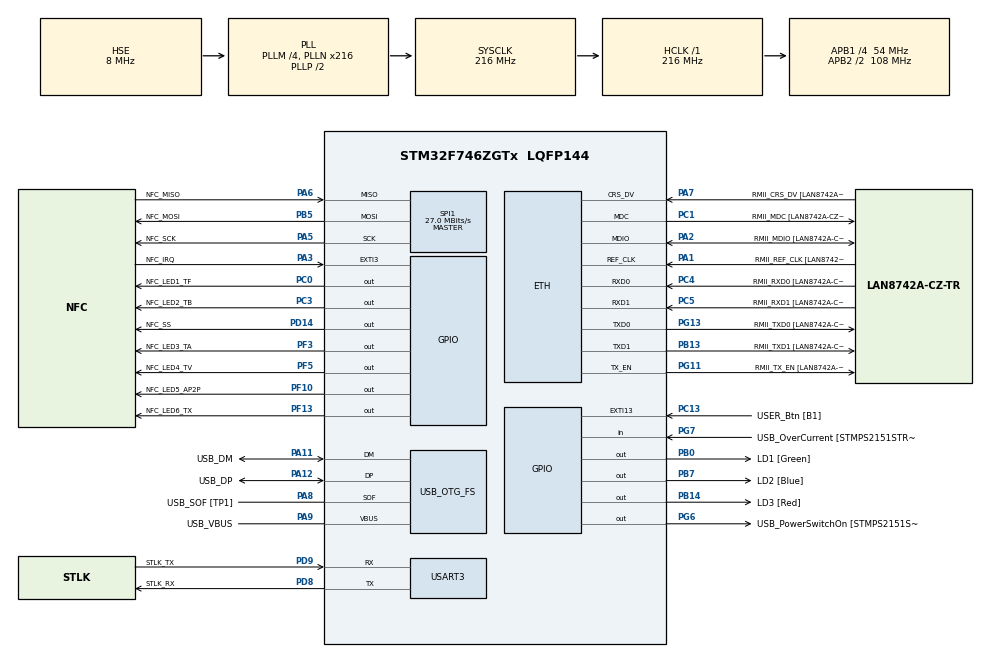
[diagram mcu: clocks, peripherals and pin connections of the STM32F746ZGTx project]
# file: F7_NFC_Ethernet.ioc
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ETH.MediaInterface=HAL_ETH_RMII_MODE
ETH.PHY_Name=LAN8742A_PHY_ADDRESS
ETH.PHY_Value=0
ETH.PhyAddress=0
FREERTOS.Tasks01=defaultTask,24,128,StartDefaultTask,Default,NULL,Dynamic,NULL,NULL
FREERTOS.configUSE_NEWLIB_REENTRANT=1
Mcu.Family=STM32F7
Mcu.Name=STM32F746ZGTx
Mcu.Package=LQFP144
NVIC.ETH_IRQn=true\:5\:0\:false\:false\:true\:true\:true\:true\:true
NVIC.EXTI15_10_IRQn=true\:5\:0\:false\:false\:true\:true\:true\:true\:true
NVIC.EXTI3_IRQn=true\:5\:0\:false\:false\:true\:true\:true\:true\:true
NVIC.OTG_FS_IRQn=true\:5\:0\:false\:false\:true\:true\:true\:true\:true
NVIC.PriorityGroup=NVIC_PRIORITYGROUP_4
NVIC.SPI1_IRQn=true\:5\:0\:false\:false\:true\:true\:true\:true\:true
NVIC.TIM6_DAC_IRQn=true\:15\:0\:false\:false\:true\:false\:false\:true\:true
NVIC.TimeBase=TIM6_DAC_IRQn
NVIC.TimeBaseIP=TIM6
NVIC.USART3_IRQn=true\:5\:0\:false\:false\:true\:true\:true\:true\:true
PA1.GPIO_Label=RMII_REF_CLK [LAN8742A-CZ-TR_REFCLK0]
PA1.Mode=RMII
PA1.Signal=ETH_REF_CLK
PA10.GPIO_Label=USB_ID
PA10.Signal=USB_OTG_FS_ID
PA11.GPIO_Label=USB_DM
PA11.Mode=Host_Only
PA11.Signal=USB_OTG_FS_DM
PA12.GPIO_Label=USB_DP
PA12.Mode=Host_Only
PA12.Signal=USB_OTG_FS_DP
PA13.GPIO_Label=TMS
PA13.Mode=JTAG_4_pins
PA13.Signal=SYS_JTMS-SWDIO
PA14.GPIO_Label=TCK
PA14.Mode=JTAG_4_pins
PA14.Signal=SYS_JTCK-SWCLK
PA15.Mode=JTAG_4_pins
PA15.Signal=SYS_JTDI
PA2.GPIO_Label=RMII_MDIO [LAN8742A-CZ-TR_MDIO]
PA2.Mode=RMII
PA2.Signal=ETH_MDIO
PA3.GPIO_Label=NFC_IRQ
PA3.Signal=GPXTI3
PA5.GPIO_Label=NFC_SCK
PA5.Mode=Full_Duplex_Master
PA5.Signal=SPI1_SCK
PA6.GPIO_Label=NFC_MISO
PA6.Mode=Full_Duplex_Master
PA6.Signal=SPI1_MISO
PA7.GPIO_Label=RMII_CRS_DV [LAN8742A-CZ-TR_CRS_DV]
PA7.Mode=RMII
PA7.Signal=ETH_CRS_DV
PA8.GPIO_Label=USB_SOF [TP1]
PA8.Mode=Activate_SOF_FS
PA8.Signal=USB_OTG_FS_SOF
PA9.GPIO_Label=USB_VBUS
PA9.Mode=Activate_VBUS
PA9.Signal=USB_OTG_FS_VBUS
PB0.GPIO_Label=LD1 [Green]
PB0.Signal=GPIO_Output
PB13.GPIO_Label=RMII_TXD1 [LAN8742A-CZ-TR_TXD1]
PB13.Mode=RMII
PB13.Signal=ETH_TXD1
PB14.GPIO_Label=LD3 [Red]
PB14.Signal=GPIO_Output
PB3.GPIO_Label=SW0
PB3.Mode=JTAG_4_pins
PB3.Signal=SYS_JTDO-SWO
PB5.GPIO_Label=NFC_MOSI
PB5.Mode=Full_Duplex_Master
PB5.Signal=SPI1_MOSI
PB7.GPIO_Label=LD2 [Blue]
PB7.Signal=GPIO_Output
PC0.GPIO_Label=NFC_LED1_TF
PC0.Signal=GPIO_Output
PC1.GPIO_Label=RMII_MDC [LAN8742A-CZ-TR_MDC]
PC1.Mode=RMII
PC1.Signal=ETH_MDC
PC13.GPIO_Label=USER_Btn [B1]
PC13.Signal=GPXTI13
PC14/OSC32_IN.Mode=LSE-External-Oscillator
PC14/OSC32_IN.Signal=RCC_OSC32_IN
PC15/OSC32_OUT.Mode=LSE-External-Oscillator
PC15/OSC32_OUT.Signal=RCC_OSC32_OUT
PC3.GPIO_Label=NFC_LED2_TB
PC3.Signal=GPIO_Output
PC4.GPIO_Label=RMII_RXD0 [LAN8742A-CZ-TR_RXD0]
PC4.Mode=RMII
PC4.Signal=ETH_RXD0
PC5.GPIO_Label=RMII_RXD1 [LAN8742A-CZ-TR_RXD1]
PC5.Mode=RMII
PC5.Signal=ETH_RXD1
PD14.GPIO_Label=NFC_SS
PD14.Signal=GPIO_Output
PD8.GPIO_Label=STLK_RX
PD8.GPIO_PuPd=GPIO_PULLUP
PD8.Mode=Asynchronous
PD8.Signal=USART3_TX
PD9.GPIO_Label=STLK_TX
PD9.GPIO_PuPd=GPIO_PULLUP
PD9.Mode=Asynchronous
PD9.Signal=USART3_RX
PF10.GPIO_Label=NFC_LED5_AP2P
PF10.Signal=GPIO_Output
PF13.GPIO_Label=NFC_LED6_TX
PF13.Signal=GPIO_Output
PF3.GPIO_Label=NFC_LED3_TA
PF3.Signal=GPIO_Output
PF5.GPIO_Label=NFC_LED4_TV
PF5.Signal=GPIO_Output
PG11.GPIO_Label=RMII_TX_EN [LAN8742A-CZ-TR_TXEN]
PG11.Mode=RMII
PG11.Signal=ETH_TX_EN
PG13.GPIO_Label=RMII_TXD0 [LAN8742A-CZ-TR_TXD0]
PG13.Mode=RMII
PG13.Signal=ETH_TXD0
PG6.GPIO_Label=USB_PowerSwitchOn [STMPS2151STR_EN]
PG6.Signal=GPIO_Output
PG7.GPIO_Label=USB_OverCurrent [STMPS2151STR_FAULT]
PG7.Signal=GPIO_Input
PH0/OSC_IN.GPIO_Label=MCO [STM32F103CBT6_PA8]
PH0/OSC_IN.Mode=HSE-External-Clock-Source
PH0/OSC_IN.Signal=RCC_OSC_IN
PH1/OSC_OUT.Mode=HSE-External-Clock-Source
PH1/OSC_OUT.Signal=RCC_OSC_OUT
ProjectManager.HeapSize=0x400
ProjectManager.StackSize=0x800
ProjectManager.TargetToolchain=STM32CubeIDE
RCC.48MHZClocksFreq_Value=24000000
RCC.AHBFreq_Value=216000000
RCC.APB1CLKDivider=RCC_HCLK_DIV4
RCC.APB1Freq_Value=54000000
RCC.APB1TimFreq_Value=108000000
RCC.APB2CLKDivider=RCC_HCLK_DIV2
RCC.APB2Freq_Value=108000000
RCC.APB2TimFreq_Value=216000000
RCC.CortexFreq_Value=216000000
RCC.HCLKFreq_Value=216000000
RCC.HSE_VALUE=8000000
RCC.HSI_VALUE=16000000
RCC.PLLM=4
RCC.PLLMUL=RCC_PLL_MUL9
RCC.PLLN=216
RCC.PLLQ=9
RCC.PRESCALERUSB=RCC_USBCLKSOURCE_PLL_DIV1_5
RCC.SYSCLKFreq_VALUE=216000000
RCC.SYSCLKSource=RCC_SYSCLKSOURCE_PLLCLK
RCC.SYSCLKSourceVirtual=RCC_SYSCLKSOURCE_PLLCLK
RCC.USBFreq_Value=48000000
RCC.VCOOutputFreq_Value=432000000
SPI1.BaudRatePrescaler=SPI_BAUDRATEPRESCALER_4
SPI1.CLKPolarity=SPI_POLARITY_HIGH
SPI1.CalculateBaudRate=27.0 MBits/s
SPI1.DataSize=SPI_DATASIZE_8BIT
SPI1.Direction=SPI_DIRECTION_2LINES
SPI1.Mode=SPI_MODE_MASTER
SPI1.VirtualType=VM_MASTER
USART3.VirtualMode-Asynchronous=VM_ASYNC
USB_HOST.BSP.number=1
USB_HOST.USBH_DEBUG_LEVEL-ALL_Classes_FS=3
USB_HOST.USBH_HandleTypeDef-ALL_Classes_FS=hUsbHostFS
USB_HOST.VirtualModeFS=All_Classes
USB_HOST0.BSP.STBoard=false
USB_HOST0.BSP.api=Unknown
USB_HOST0.BSP.instance=PG6
USB_HOST0.BSP.ip=GPIO
USB_HOST0.BSP.mode=Output
USB_HOST0.BSP.name=Drive_VBUS_FS
USB_HOST0.BSP.solution=PG6
USB_OTG_FS.VirtualMode=Host_Only
USB_OTG_FS.phy_itface=HCD_PHY_EMBEDDED
VP_FREERTOS_VS_CMSIS_V2.Mode=CMSIS_V2
VP_SYS_VS_tim6.Mode=TIM6
VP_USB_HOST_VS_USB_HOST_ALL_CLASS_FS.Mode=ALL_Classes_FS
board=NUCLEO-F746ZG

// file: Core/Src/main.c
/* USER CODE BEGIN Header */
/**
  ******************************************************************************
  * @file           : main.c
  * @brief          : Main program body
  ******************************************************************************
  * @attention
  *
  * Copyright (c) 2023 STMicroelectronics.
  * All rights reserved.
  *
  * This software is licensed under terms that can be found in the LICENSE file
  * in the root directory of this software component.
  * If no LICENSE file comes with this software, it is provided AS-IS.
  *
  ******************************************************************************
  */
/* USER CODE END Header */
#include "main.h"
#include "cmsis_os.h"
#include "spi.h"
#include "usart.h"
#include "gpio.h"

/* USER CODE BEGIN Includes */
#include "utils.h"
/* USER CODE END Includes */

/* USER CODE BEGIN PV */
uint8_t assert_buffer[200] = {0};
/* USER CODE END PV */

void SystemClock_Config(void);
void MX_FREERTOS_Init(void);
/* USER CODE BEGIN PFP */
#ifdef  USE_FULL_ASSERT
void assert_write(uint8_t* msg);
#endif
/* USER CODE END PFP */

int main(void)
{

  /* MCU Configuration--------------------------------------------------------*/

  /* Reset of all peripherals, Initializes the Flash interface and the Systick. */
  HAL_Init();

  /* Configure the system clock */
  SystemClock_Config();

  /* Initialize all configured peripherals */
  MX_GPIO_Init();
  MX_USART3_UART_Init();
  MX_SPI1_Init();

  /* Init scheduler */
  osKernelInitialize();  /* Call init function for freertos objects (in freertos.c) */
  MX_FREERTOS_Init();

  /* Start scheduler */
  osKernelStart();
  /* We should never get here as control is now taken by the scheduler */
  /* Infinite loop */
  while (1)
  {

  }
}

void SystemClock_Config(void)
{
  RCC_OscInitTypeDef RCC_OscInitStruct = {0};
  RCC_ClkInitTypeDef RCC_ClkInitStruct = {0};

  /** Configure LSE Drive Capability
  */
  HAL_PWR_EnableBkUpAccess();

  /** Configure the main internal regulator output voltage
  */
  __HAL_RCC_PWR_CLK_ENABLE();
  __HAL_PWR_VOLTAGESCALING_CONFIG(PWR_REGULATOR_VOLTAGE_SCALE1);

  /** Initializes the RCC Oscillators according to the specified parameters
  * in the RCC_OscInitTypeDef structure.
  */
  RCC_OscInitStruct.OscillatorType = RCC_OSCILLATORTYPE_HSE;
  RCC_OscInitStruct.HSEState = RCC_HSE_BYPASS;
  RCC_OscInitStruct.PLL.PLLState = RCC_PLL_ON;
  RCC_OscInitStruct.PLL.PLLSource = RCC_PLLSOURCE_HSE;
  RCC_OscInitStruct.PLL.PLLM = 4;
  RCC_OscInitStruct.PLL.PLLN = 216;
  RCC_OscInitStruct.PLL.PLLP = RCC_PLLP_DIV2;
  RCC_OscInitStruct.PLL.PLLQ = 9;
  if (HAL_RCC_OscConfig(&RCC_OscInitStruct) != HAL_OK)
  {
    Error_Handler();
  }

  /** Activate the Over-Drive mode
  */
  if (HAL_PWREx_EnableOverDrive() != HAL_OK)
  {
    Error_Handler();
  }

  /** Initializes the CPU, AHB and APB buses clocks
  */
  RCC_ClkInitStruct.ClockType = RCC_CLOCKTYPE_HCLK|RCC_CLOCKTYPE_SYSCLK
                              |RCC_CLOCKTYPE_PCLK1|RCC_CLOCKTYPE_PCLK2;
  RCC_ClkInitStruct.SYSCLKSource = RCC_SYSCLKSOURCE_PLLCLK;
  RCC_ClkInitStruct.AHBCLKDivider = RCC_SYSCLK_DIV1;
  RCC_ClkInitStruct.APB1CLKDivider = RCC_HCLK_DIV4;
  RCC_ClkInitStruct.APB2CLKDivider = RCC_HCLK_DIV2;

  if (HAL_RCC_ClockConfig(&RCC_ClkInitStruct, FLASH_LATENCY_7) != HAL_OK)
  {
    Error_Handler();
  }
}

void HAL_TIM_PeriodElapsedCallback(TIM_HandleTypeDef *htim)
{
  if (htim->Instance == TIM6) {
    HAL_IncTick();
  }
}

void Error_Handler(void)
{
  __disable_irq();
  while (1)
  {
  }
}

#ifdef  USE_FULL_ASSERT
/**
  * @brief  Reports the name of the source file and the source line number
  *         where the assert_param error has occurred.
  * @param  file: pointer to the source file name
  * @param  line: assert_param error line source number
  * @retval None
  */
void assert_failed(uint8_t *file, uint32_t line)
{
  /* USER CODE BEGIN 6 */
  /* User can add his own implementation to report the file name and line number,
     ex: printf("Wrong parameters value: file %s on line %d\r\n", file, line) */

	/* red_color_printf();
	printf("Assert Failed: ");
	green_color_printf();
	printf("Wrong parameters value: file %s on line %d\r\n", file, (uint)line);
	white_color_printf(); */

	snprintf((char*)assert_buffer, 200, "ASSERT FAILED >>\tWrong parameters value: file %s on line %d\r\n", file, (uint)line);
	assert_write(assert_buffer);

  /* USER CODE END 6 */
}

void assert_write(uint8_t* msg)
{
	int len = strlen((char*)msg);
	int i = 0;
	for (i = 0; i < len; ++i) {
		ITM_SendChar(*msg++);
	}
}
#endif /* USE_FULL_ASSERT */

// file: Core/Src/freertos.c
/* USER CODE BEGIN Header */
/**
  ******************************************************************************
  * File Name          : freertos.c
  * Description        : Code for freertos applications
  ******************************************************************************
  * @attention
  *
  * Copyright (c) 2023 STMicroelectronics.
  * All rights reserved.
  *
  * This software is licensed under terms that can be found in the LICENSE file
  * in the root directory of this software component.
  * If no LICENSE file comes with this software, it is provided AS-IS.
  *
  ******************************************************************************
  */
/* USER CODE END Header */

#include "FreeRTOS.h"
#include "task.h"
#include "main.h"
#include "cmsis_os.h"

/* USER CODE BEGIN Includes */
#include "utils.h"
/* USER CODE END Includes */

/* Definitions for defaultTask */
osThreadId_t defaultTaskHandle;
const osThreadAttr_t defaultTask_attributes = {
  .name = "defaultTask",
  .stack_size = 128 * 4,
  .priority = (osPriority_t) osPriorityNormal,
};

void StartDefaultTask(void *argument);

void MX_FREERTOS_Init(void); /* (MISRA C 2004 rule 8.1) */

void MX_FREERTOS_Init(void) {

  /* Create the thread(s) */
  /* creation of defaultTask */
  defaultTaskHandle = osThreadNew(StartDefaultTask, NULL, &defaultTask_attributes);

}

void StartDefaultTask(void *argument)
{
  /* USER CODE BEGIN StartDefaultTask */
  /* Infinite loop */
  for(;;)
  {
	  HAL_GPIO_TogglePin(NFC_LED1_TF_GPIO_Port, NFC_LED1_TF_Pin);
	  osDelay(80);
	  HAL_GPIO_TogglePin(NFC_LED2_TB_GPIO_Port, NFC_LED2_TB_Pin);
	  osDelay(80);
	  HAL_GPIO_TogglePin(NFC_LED3_TA_GPIO_Port, NFC_LED3_TA_Pin);
	  osDelay(80);
	  HAL_GPIO_TogglePin(NFC_LED4_TV_GPIO_Port, NFC_LED4_TV_Pin);
	  osDelay(80);
	  HAL_GPIO_TogglePin(NFC_LED5_AP2P_GPIO_Port, NFC_LED5_AP2P_Pin);
	  osDelay(80);
	  HAL_GPIO_TogglePin(NFC_LED6_TX_GPIO_Port, NFC_LED6_TX_Pin);
	  green_color_printf();
	  printf("From default Task...\r\n");
	  osDelay(1000);
  }
  /* USER CODE END StartDefaultTask */
}
